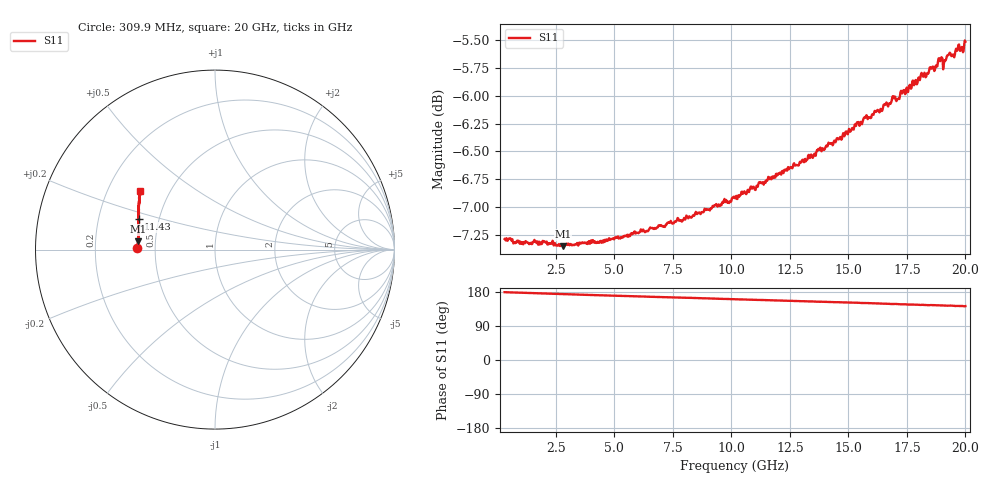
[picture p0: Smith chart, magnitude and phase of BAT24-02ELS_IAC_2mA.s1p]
! Infineon Technologies  Discrete & RF Semiconductors
! BAT24-02ELS
! IAC = 2 mA
! One-Port S-Parameters
# Hz  S  MA  R  50
!f  S11
!Hz  Mag  Ang
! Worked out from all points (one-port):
!   789 points, 309.9 MHz to 20 GHz, reference 50 ohm
!   lowest |S11| = -7.4 dB at 2.809 GHz (marker M1), VSWR 2.50, Z = 20 + j2.22 ohm
!   |S11| at or under -10 dB: nowhere
!   S11 on the Smith chart (normalised r, x): 309.9 MHz: 0.40, +0.01; 11.43 GHz: 0.38, +0.17; 20 GHz: 0.34, +0.31
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3.0985e8  0.432 178.9
2.783612e9  0.4294 174.0
2.8086e9  0.4288 173.9
5.232388e9  0.4325 169.3
7.70615e9  0.4415 164.8
1.015492e10  0.4507 160.4
1.142929e10  0.4585 158.0
1.262869e10  0.4657 155.8
1.507746e10  0.4829 151.7
1.670165e10  0.4957 148.4
1.682659e10  0.4979 147.7
1.695152e10  0.5 147.9
1.705148e10  0.4985 147.8
1.725138e10  0.5038 147.0
1.745128e10  0.5028 146.8
1.755122e10  0.5032 146.6
1.82009e10  0.5112 145.4
1.842579e10  0.5132 144.7
1.862569e10  0.5166 144.8
1.890055e10  0.52 144.2
1.912544e10  0.5201 143.8
1.925038e10  0.5228 143.4
1.942529e10  0.5225 143.2
1.962519e10  0.5262 142.8
1.967516e10  0.5262 142.5
1.982509e10  0.5269 142.4
1.987506e10  0.5258 142.7
2e10  0.5302 142.2
